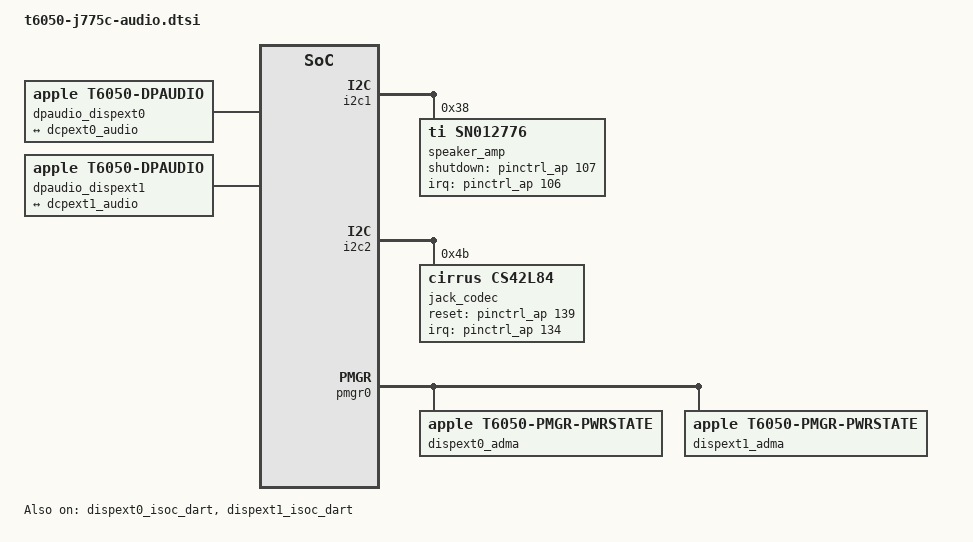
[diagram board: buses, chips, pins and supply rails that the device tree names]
// SPDX-License-Identifier: GPL-2.0+ OR MIT
/* J775c audio wiring; AOP is enabled only after loader handoff. */
/  {
	sound  {
		compatible = "apple,j775c-macaudio", "apple,macaudio";
		/*
		 * No variant letter, as on J375/J475/J575: userspace (speakersafetyd,
		 * the UCM profile, asahi-audio) keys on the card id "AppleJ775".
		 */
		model = "Mac Studio J775";
		#address-cells = <1>;
		#size-cells = <0>;
		dai-link@0  {
			reg = <0>;
			link-name = "Headphone Jack";
			cpu  {
				sound-dai = <&aop_audio 0>;
			};
			codec  {
				sound-dai = <&jack_codec>;
			};
		};
		dai-link@1  {
			reg = <1>;
			link-name = "Speaker";
			cpu  {
				sound-dai = <&aop_audio 3>;
			};
			codec  {
				sound-dai = <&speaker_amp>;
			};
		};
	};
};
&pinctrl_ap  {
	/*
	 * Every pin reads cleanly (evidence/dt/2026-10-30-gpio-qualification.md), but only
	 * the pins a node in this file names are exposed: 80 (PCIe port 0's PERST#, ADT
	 * pci-bridge0 function-perst), 106 (amp IRQ), 107 (amp shutdown), 134 (jack IRQ)
	 * and 139 (jack codec reset), from the ADT's audio-speaker and audio-codec-output.
	 * A reserved line cannot be requested (gpiolib answers -EINVAL), so a node that
	 * names a new pin of pinctrl_ap opens it here too.
	 */
	gpio-reserved-ranges = <0 80>, <81 25>, <108 26>, <135 4>, <140 81>;
};
&i2c1  {
	/*
	 * ADT speaker-config 00 14 00 02: playback slot 0, amp gain 20, I sense in slot 0
	 * and V sense in slot 2. The bytes are <slot, gain, I slot, V slot>: on J316 every
	 * amp's row matches its validated imon/vmon pair (00 0f 00 02 is imon 0, vmon 2;
	 * 01 0f 04 06 is imon 4, vmon 6), and J375/J473/J575 use imon 0, vmon 2 as well.
	 * The firmware's speaker frame is 250 BCLKs of 12 MHz (ADT
	 * iop-audio-controller/audio-speaker), which the amp's ratio detection rejects.
	 */
	speaker_amp: codec@38  {
		compatible = "ti,sn012776", "ti,tas2764";
		reg = <0x38>;
		shutdown-gpios = <&pinctrl_ap 107 GPIO_ACTIVE_HIGH>;
		interrupts-extended = <&pinctrl_ap 106 IRQ_TYPE_LEVEL_LOW>;
		#sound-dai-cells = <0>;
		ti,imon-slot-no = <0>;
		ti,vmon-slot-no = <2>;
	};
};
&i2c2  {
	jack_codec: codec@4b  {
		compatible = "cirrus,cs42l84";
		reg = <0x4b>;
		reset-gpios = <&pinctrl_ap 139 GPIO_ACTIVE_HIGH>;
		interrupts-extended = <&pinctrl_ap 134 IRQ_TYPE_LEVEL_LOW>;
		#sound-dai-cells = <0>;
		sound-name-prefix = "Jack";
	};
};
&pmgr0  {
	ps_dispext0_adma: power-controller@270  {
		compatible = "apple,t6050-pmgr-pwrstate", "apple,t8103-pmgr-pwrstate";
		reg = <0x270 4>;
		label = "dispext0_adma";
		#power-domain-cells = <0>;
		#reset-cells = <0>;
	};
};
&dispext0_isoc_dart  {
	status = "okay";
	power-domains = <&ps_dispext0_adma>;
	apple,dma-range = <0x100 0x0 0x10 0x0>;
};
&admac_dispext0  {
	status = "okay";
	power-domains = <&ps_dispext0_adma>;
	apple,dma-range = <0x100 0x0 0x10 0x0>;
};
&dcpext0  {
	ports  {
		#address-cells = <1>;
		#size-cells = <0>;
		port@0  {
			reg = <0>;
			dcpext0_audio: endpoint  {
				remote-endpoint = <&dpaudio_dispext0_dcp>;
			};
		};
	};
};
/  {
	dpaudio_dispext0: audio-controller-dispext0  {
		compatible = "apple,t6050-dpaudio", "apple,dpaudio";
		dmas = <&admac_dispext0 0>;
		dma-names = "tx";
		ports  {
			#address-cells = <1>;
			#size-cells = <0>;
			port@0  {
				reg = <0>;
				dpaudio_dispext0_dcp: endpoint  {
					remote-endpoint = <&dcpext0_audio>;
				};
			};
		};
	};
};
&pmgr0  {
	ps_dispext1_adma: power-controller@2d8  {
		compatible = "apple,t6050-pmgr-pwrstate", "apple,t8103-pmgr-pwrstate";
		reg = <0x2d8 4>;
		label = "dispext1_adma";
		#power-domain-cells = <0>;
		#reset-cells = <0>;
	};
};
&dispext1_isoc_dart  {
	status = "okay";
	power-domains = <&ps_dispext1_adma>;
	apple,dma-range = <0x100 0x0 0x10 0x0>;
};
&admac_dispext1  {
	status = "okay";
	power-domains = <&ps_dispext1_adma>;
	apple,dma-range = <0x100 0x0 0x10 0x0>;
};
&dcpext1  {
	ports  {
		#address-cells = <1>;
		#size-cells = <0>;
		port@0  {
			reg = <0>;
			dcpext1_audio: endpoint  {
				remote-endpoint = <&dpaudio_dispext1_dcp>;
			};
		};
	};
};
/  {
	dpaudio_dispext1: audio-controller-dispext1  {
		compatible = "apple,t6050-dpaudio", "apple,dpaudio";
		dmas = <&admac_dispext1 0>;
		dma-names = "tx";
		ports  {
			#address-cells = <1>;
			#size-cells = <0>;
			port@0  {
				reg = <0>;
				dpaudio_dispext1_dcp: endpoint  {
					remote-endpoint = <&dcpext1_audio>;
				};
			};
		};
	};
};
